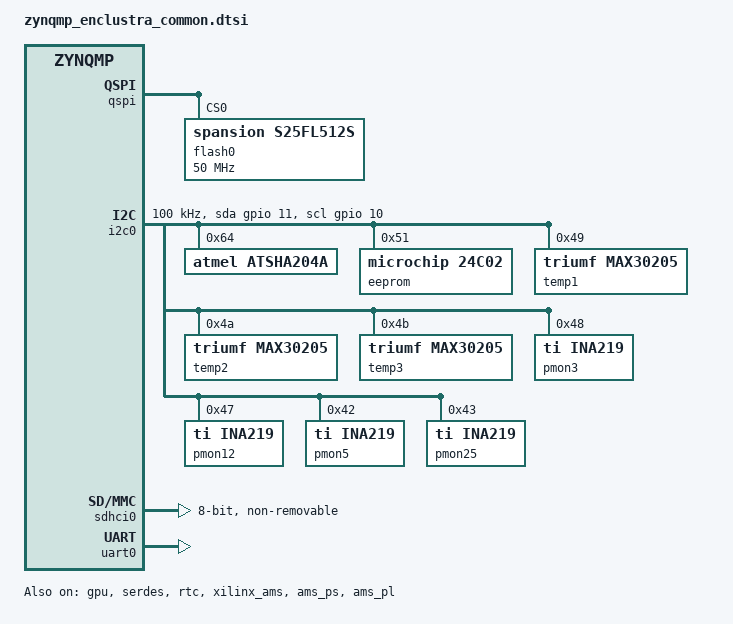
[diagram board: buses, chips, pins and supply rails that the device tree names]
#include <dt-bindings/gpio/gpio.h>

&gpu {
	status = "okay";
};

&serdes {
	status = "okay";
};

&rtc {
	status = "okay";
};

&fpd_dma_chan1 {
	status = "okay";
};

&fpd_dma_chan2 {
	status = "okay";
};

&fpd_dma_chan3 {
	status = "okay";
};

&fpd_dma_chan4 {
	status = "okay";
};

&fpd_dma_chan5 {
	status = "okay";
};

&fpd_dma_chan6 {
	status = "okay";
};

&fpd_dma_chan7 {
	status = "okay";
};

&fpd_dma_chan8 {
	status = "okay";
};

&gpio {
	status = "okay";
	gpio-line-names =
		"",
		"",
		"",
		"",
		"",
		"",
		"",
		"",
		"",
		"",
		"",
		"",
		"",
		"",
		"",
		"",
		"",
		"",
		"",
		"",
		"",
		"",
		"",
		"",
		"",
		"",
		"",
		"",
		"",
		"",
		"",
		"",
		"",
		"",
		"",
		"",
		"",
		"",
		"",
		"",
		"",
		"adc_cnvt_sel",
		"tach2",
		"tach1",
		"tach3",
		"",
		"",
		"",
		"",
		"",
		"",
		"",
		"",
		"",
		"",
		"",
		"",
		"",
		"",
		"",
		"",
		"",
		"",
		"",
		"",
		"",
		"",
		"",
		"",
		"",
		"",
		"",
		"",
		"",
		"",
		"",
		"",
		"",
		"",
		"",
		"",
		"",
		"",
		"",
		"",
		"",
		"",
		"",
		"",
		"",
		"",
		"",
		"",
		"",
		"",
		"",
		"",
		"",
		"",
		"",
		"",
		"",
		"",
		"",
		"",
		"",
		"",
		"",
		"",
		"",
		"",
		"",
		"",
		"",
		"",
		"",
		"",
		"",
		"",
		"",
		"",
		"",
		"",
		"",
		"",
		"",
		"",
		"",
		"",
		"",
		"",
		"",
		"",
		"",
		"",
		"",
		"",
		"",
		"",
		"",
		"",
		"",
		"",
		"",
		"",
		"",
		"",
		"",
		"",
		"",
		"",
		"",
		"",
		"",
		"",
		"",
		"",
		"",
		"",
		"",
		"",
		"",
		"",
		"",
		"",
		"",
		"",
		"",
		"",
		"",
		"",
		"",
		"",
		"";
};

&qspi {
	status = "okay";
	#address-cells = <1>;
	#size-cells = <0>;
	is-dual = <0>;
	num-cs = <1>;
	flash0: flash@0 {
		reg = <0x0>;
		compatible = "spansion,s25fl512s", "jedec,spi-nor";
		spi-rx-bus-width = <0x4>;
		spi-tx-bus-width = <0x4>;
		spi-max-frequency = <50000000>;
		#address-cells = <1>;
		#size-cells = <1>;
	};
};

&i2c0 {
	status = "okay";
	clock-frequency = <100000>;
	scl-gpios = <&gpio 10 GPIO_ACTIVE_HIGH>;
	sda-gpios = <&gpio 11 GPIO_ACTIVE_HIGH>;
	atsha204a@64 {
		compatible = "atmel,atsha204a", "atmel,atsha204-i2c";
		reg = <0x64>;
	};
	eeprom@51 {
		compatible = "microchip,24c02", "atmel,24c02";
		reg = <0x51>;
		pagesize = <8>;
		size = <256>;
	};
	temp1@49 {
		compatible = "triumf,max30205";
		reg = <0x49>;
	};
	temp2@4A {
		compatible = "triumf,max30205";
		reg = <0x4A>;
	};
	temp3@4B {
		compatible = "triumf,max30205";
		reg = <0x4B>;
	};
	pmon3@48{
		compatible = "ti,ina219";
		reg = <0x48>;
		config = <0x07ff>;
		shunt-resistor = <10000>;
	};
	pmon12@47{
		compatible = "ti,ina219";
		reg = <0x47>;
		config = <0x0fff>;
		shunt-resistor = <50000>;
	};
	pmon5@42{
		compatible = "ti,ina219";
		reg = <0x42>;
		config = <0x07ff>;
		shunt-resistor = <100000>;
	};
	pmon25@43{
		compatible = "ti,ina219";
		reg = <0x43>;
		config = <0x07ff>;
		shunt-resistor = <100000>;
	};
};

&sdhci0 {
	status = "okay";
	non-removable;
	disable-wp;
	xlnx,mio_bank = <0>;
	bus-width = <8>;
};

&uart0 {
	status = "okay";
};

&xilinx_ams {
	status = "okay";
};

&ams_ps {
	status = "okay";
};

&ams_pl {
	status = "okay";
};
